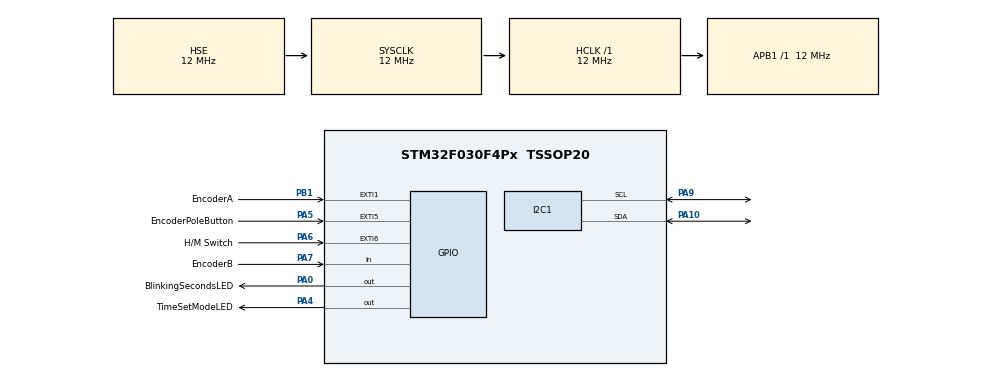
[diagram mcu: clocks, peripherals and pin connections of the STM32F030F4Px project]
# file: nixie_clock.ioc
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I2C1.Speed=20
I2C1.Timing=0x4000096C
Mcu.Family=STM32F0
Mcu.Name=STM32F030F4Px
Mcu.Package=TSSOP20
NVIC.EXTI0_1_IRQn=true\:2\:0\:true\:false\:true
NVIC.EXTI4_15_IRQn=true\:2\:0\:true\:true\:true\:6
NVIC.I2C1_IRQn=true\:1\:0\:true\:true\:true\:1
NVIC.TIM14_IRQn=true\:2\:0\:true\:true\:true\:3
NVIC.TIM16_IRQn=true\:0\:0\:false\:true\:true\:2
NVIC.TIM17_IRQn=true\:2\:0\:true\:true\:true\:4
NVIC.TIM3_IRQn=true\:3\:0\:true\:true\:true\:5
PA0.GPIO_Label=BlinkingSecondsLED
PA0.Signal=GPIO_Output
PA10.GPIO_Speed=GPIO_SPEED_FREQ_LOW
PA10.Mode=I2C
PA10.Signal=I2C1_SDA
PA13.Mode=Serial_Wire
PA13.Signal=SYS_SWDIO
PA14.Mode=Serial_Wire
PA14.Signal=SYS_SWCLK
PA4.GPIO_Label=TimeSetModeLED
PA4.Signal=GPIO_Output
PA5.GPIO_Label=EncoderPoleButton
PA5.GPIO_ModeDefaultEXTI=GPIO_MODE_IT_RISING_FALLING
PA5.GPIO_PuPd=GPIO_PULLUP
PA5.Signal=GPXTI5
PA6.GPIO_Label=H/M Switch
PA6.GPIO_ModeDefaultEXTI=GPIO_MODE_IT_FALLING
PA6.GPIO_PuPd=GPIO_PULLUP
PA6.Signal=GPXTI6
PA7.GPIO_Label=EncoderB
PA7.GPIO_PuPd=GPIO_PULLUP
PA7.Signal=GPIO_Input
PA9.GPIO_Speed=GPIO_SPEED_FREQ_LOW
PA9.Mode=I2C
PA9.Signal=I2C1_SCL
PB1.GPIO_Label=EncoderA
PB1.GPIO_ModeDefaultEXTI=GPIO_MODE_IT_FALLING
PB1.GPIO_PuPd=GPIO_PULLUP
PB1.Signal=GPXTI1
PF0-OSC_IN.Mode=HSE-External-Oscillator
PF0-OSC_IN.Signal=RCC_OSC_IN
PF1-OSC_OUT.Mode=HSE-External-Oscillator
PF1-OSC_OUT.Signal=RCC_OSC_OUT
ProjectManager.HeapSize=0x200
ProjectManager.StackSize=0x400
ProjectManager.TargetToolchain=SW4STM32
RCC.AHBFreq_Value=12000000
RCC.APB1Freq_Value=12000000
RCC.APB1TimFreq_Value=12000000
RCC.HCLKFreq_Value=12000000
RCC.HSE_VALUE=12000000
RCC.I2c1ClockSelection=RCC_I2C1CLKSOURCE_SYSCLK
RCC.PLLSourceVirtual=RCC_PLLSOURCE_HSE
RCC.SYSCLKFreq_VALUE=12000000
RCC.SYSCLKSource=RCC_SYSCLKSOURCE_HSE
TIM14.Period=59999
TIM14.Prescaler=11999
TIM16.Period=499
TIM16.Prescaler=11999
TIM17.Period=999
TIM17.Prescaler=11999
TIM3.Period=4999
TIM3.Prescaler=23999
VP_TIM14_VS_ClockSourceINT.Mode=Enable_Timer
VP_TIM16_VS_ClockSourceINT.Mode=Enable_Timer
VP_TIM17_VS_ClockSourceINT.Mode=Enable_Timer
VP_TIM3_VS_ClockSourceINT.Mode=Internal
board=nixie_clock

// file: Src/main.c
/**
  ******************************************************************************
  * File Name          : main.c
  * Description        : Main program body
  ******************************************************************************
  *
  * COPYRIGHT(c) 2017 STMicroelectronics
  *
  * Redistribution and use in source and binary forms, with or without modification,
  * are permitted provided that the following conditions are met:
  *   1. Redistributions of source code must retain the above copyright notice,
  *      this list of conditions and the following disclaimer.
  *   2. Redistributions in binary form must reproduce the above copyright notice,
  *      this list of conditions and the following disclaimer in the documentation
  *      and/or other materials provided with the distribution.
  *   3. Neither the name of STMicroelectronics nor the names of its contributors
  *      may be used to endorse or promote products derived from this software
  *      without specific prior written permission.
  *
  * THIS SOFTWARE IS PROVIDED BY THE COPYRIGHT HOLDERS AND CONTRIBUTORS "AS IS"
  * AND ANY EXPRESS OR IMPLIED WARRANTIES, INCLUDING, BUT NOT LIMITED TO, THE
  * IMPLIED WARRANTIES OF MERCHANTABILITY AND FITNESS FOR A PARTICULAR PURPOSE ARE
  * DISCLAIMED. IN NO EVENT SHALL THE COPYRIGHT HOLDER OR CONTRIBUTORS BE LIABLE
  * FOR ANY DIRECT, INDIRECT, INCIDENTAL, SPECIAL, EXEMPLARY, OR CONSEQUENTIAL
  * DAMAGES (INCLUDING, BUT NOT LIMITED TO, PROCUREMENT OF SUBSTITUTE GOODS OR
  * SERVICES; LOSS OF USE, DATA, OR PROFITS; OR BUSINESS INTERRUPTION) HOWEVER
  * CAUSED AND ON ANY THEORY OF LIABILITY, WHETHER IN CONTRACT, STRICT LIABILITY,
  * OR TORT (INCLUDING NEGLIGENCE OR OTHERWISE) ARISING IN ANY WAY OUT OF THE USE
  * OF THIS SOFTWARE, EVEN IF ADVISED OF THE POSSIBILITY OF SUCH DAMAGE.
  *
  ******************************************************************************
  */
#include "main.h"
#include "stm32f0xx_hal.h"

/* USER CODE BEGIN Includes */
#include "DS1307.h"

/* USER CODE END Includes */

I2C_HandleTypeDef hi2c1;

TIM_HandleTypeDef htim3;
TIM_HandleTypeDef htim14;
TIM_HandleTypeDef htim16;
TIM_HandleTypeDef htim17;

/* USER CODE BEGIN PV */
/* Private variables ---------------------------------------------------------*/
volatile DS1307_Time currentTime = {.hours = 0x00, .minutes = 0x00, .seconds = 0x00, .halfSeconds = 0};
volatile uint8_t timeUnitToChange = TIMEUNIT_MINUTES;

uint32_t lastInvocationTimeHMSwitch = 0;
uint32_t lastInvocationTimeEncoderTurned = 0;

/* USER CODE END PV */

void SystemClock_Config(void);

void Error_Handler(void);

static void MX_GPIO_Init(void);

static void MX_I2C1_Init(void);

static void MX_TIM14_Init(void);

static void MX_TIM16_Init(void);

static void MX_TIM17_Init(void);

static void MX_TIM3_Init(void);

static void MX_NVIC_Init(void);

/* USER CODE BEGIN PFP */
/* Private function prototypes -----------------------------------------------*/

/**
 * Increase current time for 500 ms and updates output
 */
static void updateOutput();

static void restartTimeSetModeResetTimer() {
    //clear timer count and prevent firing at once
    __HAL_TIM_SET_COUNTER(&htim3, 0);
    __HAL_TIM_CLEAR_FLAG(&htim3, TIM_SR_UIF);

    //start timer that fires at button hold limit
    HAL_TIM_Base_Start_IT(&htim3);
    HAL_NVIC_EnableIRQ(TIM3_IRQn);
}

/* USER CODE END PFP */

/* USER CODE BEGIN 0 */

void updateOutput() {
    //increase currentTime
    //disable all interrupts while working with shared memory
    __disable_irq();
    if (currentTime.halfSeconds == 1) {
        currentTime.halfSeconds = 0;
        if (currentTime.seconds == 59) {
            currentTime.seconds = 0;
            if (currentTime.minutes == 59) {
                currentTime.minutes = 0;
                if (currentTime.hours == 23) {
                    currentTime.hours = 0;
                } else {
                    currentTime.hours++;
                }
            } else {
                currentTime.minutes++;
            }
        } else {
            currentTime.seconds++;
        }
    } else {
        currentTime.halfSeconds = 1;
    }
    __enable_irq();

    //todo actual output
}

void HAL_TIM_PeriodElapsedCallback(TIM_HandleTypeDef *htim) {
    if (htim->Instance == htim14.Instance) {
        //Timer HTIM14 requests updated currentTime from DS1307
        //disable timer14 IRQ until read data from DS1307 is completed (to prevent two concurrent reads)
        HAL_NVIC_DisableIRQ(TIM14_IRQn);
        //disable set currentTime mode button to prevent concurrent read and write
        HAL_NVIC_DisableIRQ(EXTI4_15_IRQn);
        DS1307_RequestTimeReading();
    } else if (htim->Instance == htim16.Instance) {
        //Timer HTIM16 fires every 500 ms, blinks with seconds LED and increases seconds (if necessary, minutes and hours also)
        HAL_GPIO_TogglePin(BlinkingSecondsLED_GPIO_Port, BlinkingSecondsLED_Pin);
        updateOutput();
    } else if (htim->Instance == htim3.Instance) {
        //Timer HTIM3 resets currentTime set mode after 10 seconds
        //exiting time set mode by timeout
        HAL_GPIO_WritePin(TimeSetModeLED_GPIO_Port, TimeSetModeLED_Pin, GPIO_PIN_RESET);
        timeUnitToChange = TIMEUNIT_MINUTES;

        //disable encoder interrupts
        HAL_NVIC_DisableIRQ(EXTI0_1_IRQn);
        HAL_NVIC_DisableIRQ(TIM3_IRQn);
    } else if (htim->Instance == htim17.Instance) {
        //Timer HTIM17 used to check if encoder button was pressed for long enough to toggle currentTime set mode
        //if timer actually fired, we no longer need it so disable
        HAL_NVIC_DisableIRQ(TIM17_IRQn);

        GPIO_PinState isTimeSetModeEnabled = HAL_GPIO_ReadPin(TimeSetModeLED_GPIO_Port, TimeSetModeLED_Pin);
        //button was hold for long enough, no need for other calls until this one is completed
        //disable currentTime set button (via IRQ) to prevent double writes on slow I2C bus
        HAL_NVIC_DisableIRQ(EXTI4_15_IRQn);
        HAL_GPIO_TogglePin(TimeSetModeLED_GPIO_Port, TimeSetModeLED_Pin);
        if (isTimeSetModeEnabled == GPIO_PIN_RESET) {
            //entering time set mode
            //enable encoder interrupts
            HAL_NVIC_EnableIRQ(EXTI0_1_IRQn);

            restartTimeSetModeResetTimer();

            HAL_NVIC_EnableIRQ(EXTI4_15_IRQn);
        } else {
            //exiting time set mode by encoder pole pressed for some time
            //disable encoder interrupts
            HAL_NVIC_DisableIRQ(EXTI0_1_IRQn);

            //disable currentTime set mode reset timer
            HAL_NVIC_DisableIRQ(TIM3_IRQn);

            //disable timer IRQ until writing new currentTime and subsequent data reading from DS1307 is completed
            HAL_NVIC_DisableIRQ(TIM14_IRQn);

            DS1307_SetCurrentTime(&currentTime);

            //we do not enable back Timer14 IRQ here because we have to wait until writing data to DS1307 is completed
        }
    }
}

void HAL_I2C_MasterRxCpltCallback(I2C_HandleTypeDef *hi2c) {
    if (hi2c->Instance == hi2c1.Instance) {
        DS1307_Handle_Receive_Completed();
    }
    //start regular currentTime requesting and enable currentTime set button if bus is free and no operation is in progress
    //(no registers update were requested right after reading was completed)
    if (DS1307_GetCurrentState() == DS1307_READY) {
        //prevent interrupt at timer start
        __HAL_TIM_CLEAR_FLAG(&htim14, TIM_SR_UIF);
        HAL_TIM_Base_Start_IT(&htim14);
        HAL_NVIC_EnableIRQ(TIM14_IRQn);
        HAL_NVIC_EnableIRQ(EXTI4_15_IRQn);
    }
}

void HAL_I2C_MasterTxCpltCallback(I2C_HandleTypeDef *hi2c) {
    if (hi2c->Instance == hi2c1.Instance) {
        DS1307_Handle_Transmit_Completed();
    }
}

void HAL_GPIO_EXTI_Callback(uint16_t GPIO_Pin) {
    if (GPIO_Pin == EncoderPoleButton_Pin) {
        //both rise and falling edge interrupt means we have to reset timer, so disable it anyway
        NVIC_DisableIRQ(TIM17_IRQn);
        GPIO_PinState timeSetButtonState = HAL_GPIO_ReadPin(EncoderPoleButton_GPIO_Port, EncoderPoleButton_Pin);
        if (timeSetButtonState == GPIO_PIN_RESET) {
            //high => low transition, button was pressed

            //clear timer count and prevent firing at once
            __HAL_TIM_SET_COUNTER(&htim17, 0);
            __HAL_TIM_CLEAR_FLAG(&htim17, TIM_SR_UIF);

            //start timer that fires at button hold limit
            HAL_TIM_Base_Start_IT(&htim17);
            NVIC_EnableIRQ(TIM17_IRQn);
        } else {
            //low => high transition, button was released
            //stop timer
            HAL_TIM_Base_Stop_IT(&htim17);
        }
    } else if (GPIO_Pin == H_M_Switch_Pin) {
        if (HAL_GPIO_ReadPin(TimeSetModeLED_GPIO_Port, TimeSetModeLED_Pin) == GPIO_PIN_SET) {
            uint32_t currentInvocationTime = HAL_GetTick();
            if (currentInvocationTime - lastInvocationTimeHMSwitch > H_M_BUTTON_DEBOUNCE_TIME) {
                TOGGLE_TIME_UNIT_TO_CHANGE(timeUnitToChange);

                //any user interaction (encoder, h/m button) during time set mode should reset the timer
                restartTimeSetModeResetTimer();
            }
            lastInvocationTimeHMSwitch = currentInvocationTime;
        }
    } else if (GPIO_Pin == EncoderA_Pin) {
        uint32_t currentInvocationTime = HAL_GetTick();
        if (currentInvocationTime - lastInvocationTimeEncoderTurned > ENCODER_TURN_DEBOUNCE_TIME) {
            int8_t delta =
                    HAL_GPIO_ReadPin(EncoderB_GPIO_Port, EncoderB_Pin) == GPIO_PIN_SET ^ ENCODER_DIRECTION_INVERTED
                    ? (int8_t) 1 : (int8_t) -1;

            //disable all interrupts while working with shared "current time" state
            __disable_irq();
            if (TIMEUNIT_MINUTES == timeUnitToChange) {
                if (delta == 1) {
                    currentTime.minutes = currentTime.minutes == 59 ? (uint8_t) 0 : currentTime.minutes + (uint8_t) 1;
                } else {
                    currentTime.minutes = currentTime.minutes == 0 ? (uint8_t) 59 : currentTime.minutes - (uint8_t) 1;
                }
            } else {
                if (delta == 1) {
                    currentTime.hours = currentTime.hours == 23 ? (uint8_t) 0 : currentTime.hours + (uint8_t) 1;
                } else {
                    currentTime.hours = currentTime.hours == 0 ? (uint8_t) 23 : currentTime.hours - (uint8_t) 1;
                }
            }
            //enable back all interrupts after finished working with shared "current time" state
            __enable_irq();

            //each left/right turn of encoder should reset timeout timer
            restartTimeSetModeResetTimer();
        }
        lastInvocationTimeEncoderTurned = currentInvocationTime;
    }
}

/* USER CODE END 0 */

int main(void) {

    /* MCU Configuration----------------------------------------------------------*/

    /* Reset of all peripherals, Initializes the Flash interface and the Systick. */
    HAL_Init();

    /* Configure the system clock */
    SystemClock_Config();

    /* Initialize all configured peripherals */
    MX_GPIO_Init();
    MX_I2C1_Init();
    MX_TIM14_Init();
    MX_TIM16_Init();
    MX_TIM17_Init();
    MX_TIM3_Init();

    /* Initialize interrupts */
    MX_NVIC_Init();

    /* USER CODE BEGIN 2 */
    HAL_TIM_Base_Start_IT(&htim16);

    //Timer14 shouldn't call interrupt routines until the DS1307 initialization and first data reading is completed
    NVIC_DisableIRQ(TIM14_IRQn);
    //SetTime button also shouldn't be available until first data reading from DS1307 is completed
    NVIC_DisableIRQ(EXTI4_15_IRQn);

    //initialize DS1307 and request first data from there
    DS1307_Initialize(&hi2c1, &Error_Handler);

    //disable it here because GPIO init code enables it although we need it to be enabled only at time set mode
    //disabling it by default in STM32CubeMX cause interrupt handler not to be created in HAL files, so we stay with this
    HAL_NVIC_DisableIRQ(EXTI0_1_IRQn);
    /* USER CODE END 2 */

    /* Infinite loop */
    while (1) {

    }

}

/** System Clock Configuration
*/
void SystemClock_Config(void) {

    RCC_OscInitTypeDef RCC_OscInitStruct;
    RCC_ClkInitTypeDef RCC_ClkInitStruct;
    RCC_PeriphCLKInitTypeDef PeriphClkInit;

    /**Initializes the CPU, AHB and APB busses clocks
    */
    RCC_OscInitStruct.OscillatorType = RCC_OSCILLATORTYPE_HSE;
    RCC_OscInitStruct.HSEState = RCC_HSE_ON;
    RCC_OscInitStruct.PLL.PLLState = RCC_PLL_NONE;
    if (HAL_RCC_OscConfig(&RCC_OscInitStruct) != HAL_OK) {
        Error_Handler();
    }

    /**Initializes the CPU, AHB and APB busses clocks
    */
    RCC_ClkInitStruct.ClockType = RCC_CLOCKTYPE_HCLK | RCC_CLOCKTYPE_SYSCLK
                                  | RCC_CLOCKTYPE_PCLK1;
    RCC_ClkInitStruct.SYSCLKSource = RCC_SYSCLKSOURCE_HSE;
    RCC_ClkInitStruct.AHBCLKDivider = RCC_SYSCLK_DIV1;
    RCC_ClkInitStruct.APB1CLKDivider = RCC_HCLK_DIV1;

    if (HAL_RCC_ClockConfig(&RCC_ClkInitStruct, FLASH_LATENCY_0) != HAL_OK) {
        Error_Handler();
    }

    PeriphClkInit.PeriphClockSelection = RCC_PERIPHCLK_I2C1;
    PeriphClkInit.I2c1ClockSelection = RCC_I2C1CLKSOURCE_SYSCLK;
    if (HAL_RCCEx_PeriphCLKConfig(&PeriphClkInit) != HAL_OK) {
        Error_Handler();
    }

    /**Configure the Systick interrupt time
    */
    HAL_SYSTICK_Config(HAL_RCC_GetHCLKFreq() / 1000);

    /**Configure the Systick
    */
    HAL_SYSTICK_CLKSourceConfig(SYSTICK_CLKSOURCE_HCLK);

    /* SysTick_IRQn interrupt configuration */
    HAL_NVIC_SetPriority(SysTick_IRQn, 0, 0);
}

/** NVIC Configuration
*/
static void MX_NVIC_Init(void) {
    /* I2C1_IRQn interrupt configuration */
    HAL_NVIC_SetPriority(I2C1_IRQn, 1, 0);
    HAL_NVIC_EnableIRQ(I2C1_IRQn);
    /* TIM16_IRQn interrupt configuration */
    HAL_NVIC_SetPriority(TIM16_IRQn, 0, 0);
    HAL_NVIC_EnableIRQ(TIM16_IRQn);
    /* TIM14_IRQn interrupt configuration */
    HAL_NVIC_SetPriority(TIM14_IRQn, 2, 0);
    HAL_NVIC_EnableIRQ(TIM14_IRQn);
    /* TIM17_IRQn interrupt configuration */
    HAL_NVIC_SetPriority(TIM17_IRQn, 2, 0);
    HAL_NVIC_EnableIRQ(TIM17_IRQn);
    /* TIM3_IRQn interrupt configuration */
    HAL_NVIC_SetPriority(TIM3_IRQn, 3, 0);
    HAL_NVIC_EnableIRQ(TIM3_IRQn);
    /* EXTI4_15_IRQn interrupt configuration */
    HAL_NVIC_SetPriority(EXTI4_15_IRQn, 2, 0);
    HAL_NVIC_EnableIRQ(EXTI4_15_IRQn);
}

/* I2C1 init function */
static void MX_I2C1_Init(void) {

    hi2c1.Instance = I2C1;
    hi2c1.Init.Timing = 0x4000096C;
    hi2c1.Init.OwnAddress1 = 0;
    hi2c1.Init.AddressingMode = I2C_ADDRESSINGMODE_7BIT;
    hi2c1.Init.DualAddressMode = I2C_DUALADDRESS_DISABLE;
    hi2c1.Init.OwnAddress2 = 0;
    hi2c1.Init.OwnAddress2Masks = I2C_OA2_NOMASK;
    hi2c1.Init.GeneralCallMode = I2C_GENERALCALL_DISABLE;
    hi2c1.Init.NoStretchMode = I2C_NOSTRETCH_DISABLE;
    if (HAL_I2C_Init(&hi2c1) != HAL_OK) {
        Error_Handler();
    }

    /**Configure Analogue filter
    */
    if (HAL_I2CEx_ConfigAnalogFilter(&hi2c1, I2C_ANALOGFILTER_ENABLE) != HAL_OK) {
        Error_Handler();
    }

}

/* TIM3 init function */
static void MX_TIM3_Init(void) {

    TIM_ClockConfigTypeDef sClockSourceConfig;
    TIM_MasterConfigTypeDef sMasterConfig;

    htim3.Instance = TIM3;
    htim3.Init.Prescaler = 23999;
    htim3.Init.CounterMode = TIM_COUNTERMODE_UP;
    htim3.Init.Period = 4999;
    htim3.Init.ClockDivision = TIM_CLOCKDIVISION_DIV1;
    htim3.Init.AutoReloadPreload = TIM_AUTORELOAD_PRELOAD_DISABLE;
    if (HAL_TIM_Base_Init(&htim3) != HAL_OK) {
        Error_Handler();
    }

    sClockSourceConfig.ClockSource = TIM_CLOCKSOURCE_INTERNAL;
    if (HAL_TIM_ConfigClockSource(&htim3, &sClockSourceConfig) != HAL_OK) {
        Error_Handler();
    }

    sMasterConfig.MasterOutputTrigger = TIM_TRGO_RESET;
    sMasterConfig.MasterSlaveMode = TIM_MASTERSLAVEMODE_DISABLE;
    if (HAL_TIMEx_MasterConfigSynchronization(&htim3, &sMasterConfig) != HAL_OK) {
        Error_Handler();
    }

}

/* TIM14 init function */
static void MX_TIM14_Init(void) {

    htim14.Instance = TIM14;
    htim14.Init.Prescaler = 11999;
    htim14.Init.CounterMode = TIM_COUNTERMODE_UP;
    htim14.Init.Period = 59999;
    htim14.Init.ClockDivision = TIM_CLOCKDIVISION_DIV1;
    htim14.Init.AutoReloadPreload = TIM_AUTORELOAD_PRELOAD_DISABLE;
    if (HAL_TIM_Base_Init(&htim14) != HAL_OK) {
        Error_Handler();
    }

}

/* TIM16 init function */
static void MX_TIM16_Init(void) {

    htim16.Instance = TIM16;
    htim16.Init.Prescaler = 11999;
    htim16.Init.CounterMode = TIM_COUNTERMODE_UP;
    htim16.Init.Period = 499;
    htim16.Init.ClockDivision = TIM_CLOCKDIVISION_DIV1;
    htim16.Init.RepetitionCounter = 0;
    htim16.Init.AutoReloadPreload = TIM_AUTORELOAD_PRELOAD_DISABLE;
    if (HAL_TIM_Base_Init(&htim16) != HAL_OK) {
        Error_Handler();
    }

}

/* TIM17 init function */
static void MX_TIM17_Init(void) {

    htim17.Instance = TIM17;
    htim17.Init.Prescaler = 11999;
    htim17.Init.CounterMode = TIM_COUNTERMODE_UP;
    htim17.Init.Period = 999;
    htim17.Init.ClockDivision = TIM_CLOCKDIVISION_DIV1;
    htim17.Init.RepetitionCounter = 0;
    htim17.Init.AutoReloadPreload = TIM_AUTORELOAD_PRELOAD_DISABLE;
    if (HAL_TIM_Base_Init(&htim17) != HAL_OK) {
        Error_Handler();
    }

}

/** Configure pins as
        * Analog
        * Input
        * Output
        * EVENT_OUT
        * EXTI
*/
static void MX_GPIO_Init(void) {

    GPIO_InitTypeDef GPIO_InitStruct;

    /* GPIO Ports Clock Enable */
    __HAL_RCC_GPIOF_CLK_ENABLE();
    __HAL_RCC_GPIOA_CLK_ENABLE();
    __HAL_RCC_GPIOB_CLK_ENABLE();

    /*Configure GPIO pin Output Level */
    HAL_GPIO_WritePin(GPIOA, BlinkingSecondsLED_Pin | TimeSetModeLED_Pin, GPIO_PIN_RESET);

    /*Configure GPIO pins : BlinkingSecondsLED_Pin TimeSetModeLED_Pin */
    GPIO_InitStruct.Pin = BlinkingSecondsLED_Pin | TimeSetModeLED_Pin;
    GPIO_InitStruct.Mode = GPIO_MODE_OUTPUT_PP;
    GPIO_InitStruct.Pull = GPIO_NOPULL;
    GPIO_InitStruct.Speed = GPIO_SPEED_FREQ_LOW;
    HAL_GPIO_Init(GPIOA, &GPIO_InitStruct);

    /*Configure GPIO pin : EncoderPoleButton_Pin */
    GPIO_InitStruct.Pin = EncoderPoleButton_Pin;
    GPIO_InitStruct.Mode = GPIO_MODE_IT_RISING_FALLING;
    GPIO_InitStruct.Pull = GPIO_PULLUP;
    HAL_GPIO_Init(EncoderPoleButton_GPIO_Port, &GPIO_InitStruct);

    /*Configure GPIO pin : H_M_Switch_Pin */
    GPIO_InitStruct.Pin = H_M_Switch_Pin;
    GPIO_InitStruct.Mode = GPIO_MODE_IT_FALLING;
    GPIO_InitStruct.Pull = GPIO_PULLUP;
    HAL_GPIO_Init(H_M_Switch_GPIO_Port, &GPIO_InitStruct);

    /*Configure GPIO pin : EncoderB_Pin */
    GPIO_InitStruct.Pin = EncoderB_Pin;
    GPIO_InitStruct.Mode = GPIO_MODE_INPUT;
    GPIO_InitStruct.Pull = GPIO_PULLUP;
    HAL_GPIO_Init(EncoderB_GPIO_Port, &GPIO_InitStruct);

    /*Configure GPIO pin : EncoderA_Pin */
    GPIO_InitStruct.Pin = EncoderA_Pin;
    GPIO_InitStruct.Mode = GPIO_MODE_IT_FALLING;
    GPIO_InitStruct.Pull = GPIO_PULLUP;
    HAL_GPIO_Init(EncoderA_GPIO_Port, &GPIO_InitStruct);

    /* EXTI interrupt init*/
    HAL_NVIC_SetPriority(EXTI0_1_IRQn, 2, 0);
    HAL_NVIC_EnableIRQ(EXTI0_1_IRQn);

}

void Error_Handler(void) {
    while (1) {
    }
}

/************************ (C) COPYRIGHT STMicroelectronics *****END OF FILE****/
